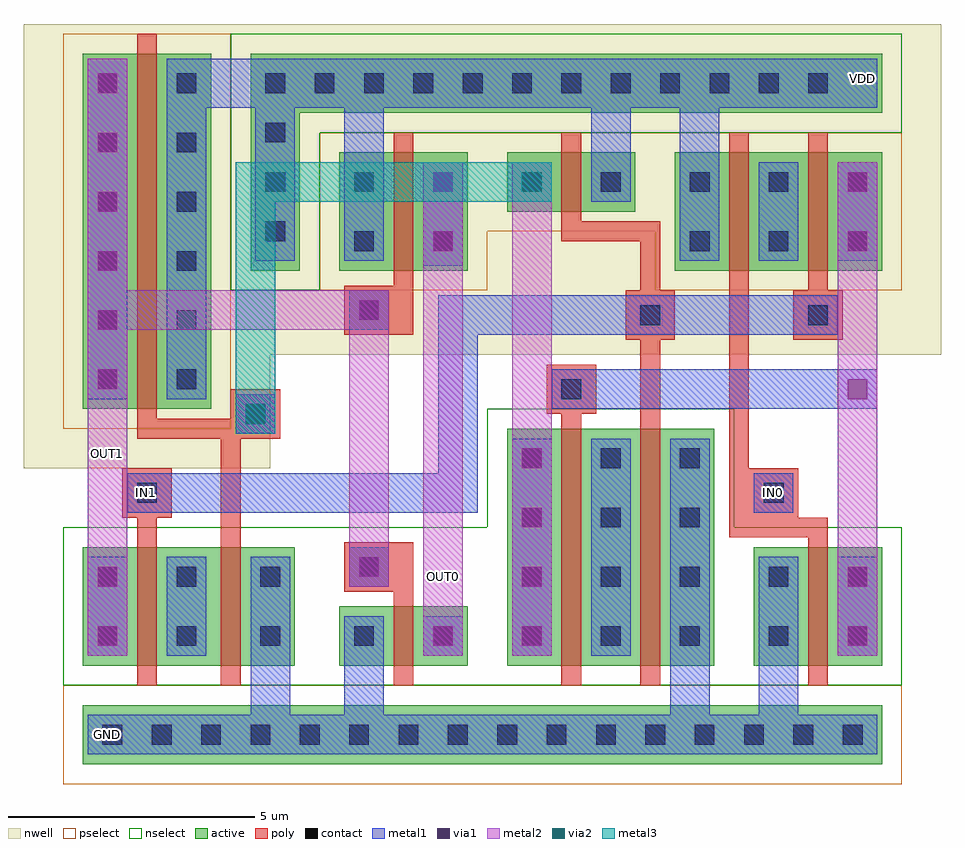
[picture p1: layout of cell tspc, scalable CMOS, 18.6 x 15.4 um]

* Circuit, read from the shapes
.subckt tspc GND IN0 IN1 OUT0 OUT1 VDD
M1 n1 IN1 OUT1 GND nfet w=2.4u l=0.4u
M2 GND n2 n1 GND nfet w=2.4u l=0.4u
M3 OUT0 OUT1 GND GND nfet w=1.2u l=0.4u
M4 n3 n4 n2 GND nfet w=4.8u l=0.4u
M5 GND IN1 n3 GND nfet w=4.8u l=0.4u
M6 n4 IN0 GND GND nfet w=2.4u l=0.4u
M7 VDD n2 OUT1 VDD pfet w=7.2u l=0.4u
M8 OUT0 OUT1 VDD VDD pfet w=2.4u l=0.4u
M9 VDD IN1 n2 VDD pfet w=1.2u l=0.4u
M10 n5 IN0 VDD VDD pfet w=2.4u l=0.4u
M11 n4 IN1 n5 VDD pfet w=2.4u l=0.4u
.ends

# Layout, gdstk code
import gdstk
lib = gdstk.Library(unit=1e-6, precision=1e-09)
def R(c, l, rs):  # rectangles x0, y0, x1, y1
    for r in rs: c.add(gdstk.rectangle(r[:2], r[2:], *l))
def A(c, l, x, y, w, h, nx, ny, dx, dy):  # array of equal rectangles
    R(c, l, [(x+i*dx, y+j*dy, x+i*dx+w, y+j*dy+h) for i in range(nx) for j in range(ny)])
contact = (25, 0)
nwell = (42, 0)
active = (43, 0)
pselect = (44, 0)
nselect = (45, 0)
poly = (46, 0)
metal1 = (49, 0)
via1 = (50, 0)
metal2 = (51, 0)
via2 = (61, 0)
metal3 = (62, 0)

tspc = lib.new_cell('tspc')
A(tspc, contact, -8.9, -7.1, 0.4, 0.4, 3, 1, 1, 0)
A(tspc, contact, 4.1, -7.1, 0.4, 0.4, 3, 1, 1, 0)
A(tspc, contact, -0.4, -5.1, 0.4, 0.4, 1, 4, 0, 1.2)
A(tspc, contact, 2.8, -5.1, 0.4, 0.4, 1, 3, 0, 1.2)
A(tspc, contact, -9, 0.1, 0.4, 0.4, 1, 6, 0, 1.2)
A(tspc, contact, -7.4, 0.1, 0.4, 0.4, 1, 6, 0, 1.2)
A(tspc, contact, -5.6, 3.1, 0.4, 0.4, 1, 3, 0, 1)
A(tspc, contact, -5.6, 6.1, 0.4, 0.4, 12, 1, 1, 0)
R(tspc, contact, [(-6.9,-7.1,-6.5,-6.7), (-5.9,-7.1,-5.5,-6.7), (-5.9,-7.1,-5.5,-6.7), (-4.9,-7.1,-4.5,-6.7), (-4.9,-7.1,-4.5,-6.7), (-3.9,-7.1,-3.5,-6.7), (-3.9,-7.1,-3.5,-6.7), (-2.9,-7.1,-2.5,-6.7), (-2.9,-7.1,-2.5,-6.7), (-1.9,-7.1,-1.5,-6.7), (-1.9,-7.1,-1.5,-6.7), (-0.9,-7.1,-0.5,-6.7), (-0.9,-7.1,-0.5,-6.7), (0.1,-7.1,0.5,-6.7), (0.1,-7.1,0.5,-6.7), (1.1,-7.1,1.5,-6.7), (1.1,-7.1,1.5,-6.7), (2.1,-7.1,2.5,-6.7), (2.1,-7.1,2.5,-6.7), (3.1,-7.1,3.5,-6.7), (3.1,-7.1,3.5,-6.7), (4.1,-7.1,4.5,-6.7), (-9,-5.1,-8.6,-4.7), (-7.4,-5.1,-7,-4.7), (-7.4,-5.1,-7,-4.7), (-5.7,-5.1,-5.3,-4.7), (-5.7,-5.1,-5.3,-4.7), (-3.8,-5.1,-3.4,-4.7), (-2.2,-5.1,-1.8,-4.7), (1.2,-5.1,1.6,-4.7), (1.2,-5.1,1.6,-4.7), (2.8,-5.1,3.2,-4.7), (4.6,-5.1,5,-4.7), (6.2,-5.1,6.6,-4.7), (-9,-3.9,-8.6,-3.5), (-7.4,-3.9,-7,-3.5), (-7.4,-3.9,-7,-3.5), (-5.7,-3.9,-5.3,-3.5), (1.2,-3.9,1.6,-3.5), (1.2,-3.9,1.6,-3.5), (4.6,-3.9,5,-3.5), (6.2,-3.9,6.6,-3.5), (-3.7,-3.7,-3.3,-3.3), (1.2,-2.7,1.6,-2.3), (1.2,-2.7,1.6,-2.3), (2.8,-2.7,3.2,-2.3), (-8.2,-2.2,-7.8,-1.8), (4.5,-2.2,4.9,-1.8), (1.2,-1.5,1.6,-1.1), (1.2,-1.5,1.6,-1.1), (2.8,-1.5,3.2,-1.1), (-6,-0.6,-5.6,-0.2), (0.4,-0.1,0.8,0.3), (2,1.4,2.4,1.8), (5.4,1.4,5.8,1.8), (-3.7,1.5,-3.3,1.9), (-3.8,2.9,-3.4,3.3), (-2.2,2.9,-1.8,3.3), (3,2.9,3.4,3.3), (4.6,2.9,5,3.3), (4.6,2.9,5,3.3), (6.2,2.9,6.6,3.3), (-3.8,4.1,-3.4,4.5), (-2.2,4.1,-1.8,4.5), (-0.4,4.1,0,4.5), (1.2,4.1,1.6,4.5), (3,4.1,3.4,4.5), (3,4.1,3.4,4.5), (4.6,4.1,5,4.5), (4.6,4.1,5,4.5), (6.2,4.1,6.6,4.5)])
R(tspc, nwell, [(-10.5,-1.5,-5.5,7.5), (-10.5,0.8,8.1,7.5)])
A(tspc, active, -0.7, -5.5, 2.6, 1.2, 1, 4, 0, 1.2)
A(tspc, active, 0.9, -5.5, 2.6, 1.2, 1, 4, 0, 1.2)
A(tspc, active, -9.3, -0.3, 2.6, 2.4, 1, 3, 0, 2.4)
R(tspc, active, [(-9.3,-7.5,-6.7,-6.3), (-7.6,-7.5,6.9,-6.3), (-4.1,-7.5,-1.5,-6.3), (-0.7,-7.5,1.9,-6.3), (0.9,-7.5,3.5,-6.3), (4.3,-7.5,6.9,-6.3), (-9.3,-5.5,-6.7,-4.3), (-7.6,-5.5,-5,-4.3), (-4.1,-5.5,-1.5,-4.3), (4.3,-5.5,6.9,-4.3), (-9.3,-4.3,-6.7,-3.1), (-7.6,-4.3,-5,-3.1), (4.3,-4.3,6.9,-3.1), (-5.9,2.5,-4.9,6.9), (-4.1,2.5,-1.5,4.9), (2.7,2.5,5.3,4.9), (4.3,2.5,6.9,4.9), (-0.7,3.7,1.9,4.9), (-4.9,5.7,6.9,6.9), (-0.7,5.7,1.9,6.9), (2.7,5.7,5.3,6.9), (4.3,5.7,6.9,6.9)])
A(tspc, pselect, -7.9, -7.9, 3.4, 2, 4, 1, 3.4, 0)
R(tspc, pselect, [(-9.7,-7.9,-6.1,-5.9), (3.9,-7.9,7.3,-5.9), (-9.7,-0.7,-6.3,7.3), (-4.5,2.1,-1.1,5.3), (2.3,2.1,3.9,5.3), (3.9,2.1,7.3,5.3), (-1.1,3.3,2.3,5.3)])
R(tspc, nselect, [(-9.7,-5.9,-6.3,-2.7), (-8,-5.9,-4.5,-2.7), (-4.5,-5.9,-1.1,-2.7), (-1.1,-5.9,2.3,-2.7), (2.3,-5.9,7.3,-2.7), (3.9,-5.9,7.3,-3.9), (-1.1,-2.7,3.9,-0.3), (-6.3,2.1,-4.5,7.3), (-4.5,5.3,-1.1,7.3), (-1.1,5.3,2.3,7.3), (0.5,5.3,3.9,7.3), (3.9,5.3,7.3,7.3)])
R(tspc, poly, [(-8.2,-5.9,-7.8,-2.5), (-6.5,-5.9,-6.1,-0.9), (-3,-5.9,-2.6,-4.4), (0.4,-5.9,0.8,-0.4), (2,-5.9,2.4,1.1), (5.4,-5.9,5.8,-2.6), (-3,-4.4,-2.6,-3), (-4,-4,-3,-3), (3.8,-2.9,5.8,-2.5), (3.8,-2.6,4.2,5.3), (-8.5,-2.5,-7.5,-1.5), (4.2,-2.5,5.2,-1.5), (-8.2,-0.9,-6.1,-0.5), (-8.2,-0.9,-7.8,7.3), (-6.3,-0.9,-5.3,0.1), (0.1,-0.4,1.1,0.6), (1.7,1.1,2.7,2.1), (5.1,1.1,6.1,2.1), (-4,1.2,-3,2.2), (-3,1.2,-2.6,2.2), (-3,2.1,-2.6,5.3), (2,2.1,2.4,3.5), (5.4,2.1,5.8,5.3), (0.4,3.1,2.4,3.5), (0.4,3.2,0.8,5.3)])
R(tspc, metal1, [(-9.2,-7.3,6.8,-6.5), (-7.5,-7.3,-5.1,-6.5), (-5.9,-7.3,-5.1,-3.3), (-4,-7.3,-3.2,-4.5), (-4,-7.3,-1.6,-6.5), (-0.6,-7.3,1.8,-6.5), (1,-7.3,3.4,-6.5), (2.6,-7.3,3.4,-0.9), (4.4,-7.3,5.2,-3.3), (4.4,-7.3,6.8,-6.5), (-9.2,-5.3,-8.4,-3.3), (-7.6,-5.3,-6.8,-3.3), (-2.4,-5.3,-1.6,-4.5), (-0.6,-5.3,0.2,-3.3), (1,-5.3,1.8,-3.3), (6,-5.3,6.8,-3.3), (-3.9,-3.9,-3.1,-3.1), (1,-3.4,1.8,-0.9), (-0.6,-3.3,0.2,-0.9), (-8.4,-2.4,-1.3,-1.6), (-2.1,-2.4,-1.3,1.4), (4.3,-2.4,5.1,-1.6), (-6.2,-0.8,-5.4,0), (0.2,-0.3,6.8,0.5), (-9.2,-0.1,-8.4,6.8), (-7.6,-0.1,-6.8,6.7), (-2.1,1.2,6,2), (-3.9,1.3,-3.1,2.1), (-2.4,2.6,-1.6,4.7), (-5.8,2.7,-5,6.7), (-4,2.7,-3.2,6.7), (2.8,2.7,3.6,6.7), (4.4,2.7,5.2,4.7), (6,2.7,6.8,4.7), (-0.6,3.9,0.2,4.7), (1,3.9,1.8,6.7), (-7.6,5.8,6.8,6.8), (-0.6,5.8,1.8,6.8), (2.8,5.8,5.2,6.8), (4.4,5.8,6.8,6.8)])
A(tspc, via1, -0.4, -5.1, 0.4, 0.4, 1, 4, 0, 1.2)
A(tspc, via1, -9, 0.1, 0.4, 0.4, 1, 3, 0, 1.2)
A(tspc, via1, -9, 3.7, 0.4, 0.4, 1, 3, 0, 1.2)
R(tspc, via1, [(-9,-5.1,-8.6,-4.7), (-2.2,-5.1,-1.8,-4.7), (6.2,-5.1,6.6,-4.7), (-9,-3.9,-8.6,-3.5), (6.2,-3.9,6.6,-3.5), (-3.7,-3.7,-3.3,-3.3), (-3.7,-3.7,-3.3,-3.3), (-3.7,-3.7,-3.3,-3.3), (-6,-0.6,-5.6,-0.2), (6.2,-0.1,6.6,0.3), (-3.7,1.5,-3.3,1.9), (-3.7,1.5,-3.3,1.9), (-9,2.5,-8.6,2.9), (-2.2,2.9,-1.8,3.3), (6.2,2.9,6.6,3.3), (-9,3.7,-8.6,4.1), (-2.2,4.1,-1.8,4.5), (-0.4,4.1,0,4.5), (6.2,4.1,6.6,4.5)])
R(tspc, metal2, [(-9.2,-5.3,-8.4,6.8), (-2.4,-5.3,-1.6,4.7), (-0.6,-5.3,0.2,4.7), (6,-5.3,6.8,-3.3), (6,-5.3,6.8,4.7), (-3.9,-3.9,-3.1,2.1), (-6.2,-0.8,-5.4,0), (-9.2,1.3,-3.1,2.1), (6,2.7,6.8,4.7)])
R(tspc, via2, [(-6,-0.6,-5.6,-0.2), (-0.4,4.1,0,4.5)])
R(tspc, metal3, [(-6.2,-0.8,-5.4,4.7), (-6.2,3.9,0.2,4.7)])
tspc.add(gdstk.Label('IN0', (4.7,-2), layer=75, texttype=0))
tspc.add(gdstk.Label('IN1', (-8,-2), layer=75, texttype=0))
tspc.add(gdstk.Label('VDD', (6.5,6.4), layer=75, texttype=0))
tspc.add(gdstk.Label('GND', (-8.8,-6.9), layer=75, texttype=0))
tspc.add(gdstk.Label('OUT0', (-2,-3.7), layer=76, texttype=0))
tspc.add(gdstk.Label('OUT1', (-8.8,-1.2), layer=76, texttype=0))

lib.write_gds('tspc.gds')
